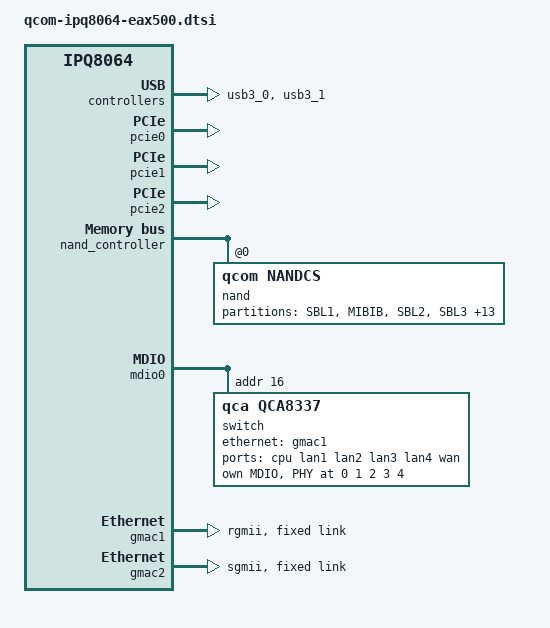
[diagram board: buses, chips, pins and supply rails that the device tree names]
// SPDX-License-Identifier: GPL-2.0-or-later OR MIT

#include "qcom-ipq8064-v2.0.dtsi"

#include <dt-bindings/input/input.h>

/ {
	chosen {
		bootargs = "console=ttyMSM0,115200n8";
		/* append to bootargs adding the root deviceblock nbr from bootloader */
		append-rootblock = "ubi.mtd=";
	};
};

&usb3_0 {
	status = "okay";
};

&usb3_1 {
	status = "okay";
};

&pcie0 {
	status = "okay";

	max-link-speed = <1>;
};

&pcie1 {
	status = "okay";
};

&pcie2 {
	status = "okay";
};

&nand_controller {
	status = "okay";

	pinctrl-0 = <&nand_pins>;
	pinctrl-names = "default";

	nand@0 {
		reg = <0>;
		compatible = "qcom,nandcs";

		nand-ecc-strength = <4>;
		nand-bus-width = <8>;
		nand-ecc-step-size = <512>;

		nand-is-boot-medium;
		qcom,boot_pages_size = <0x0c80000>;

		partitions: partitions {
			compatible = "fixed-partitions";
			#address-cells = <1>;
			#size-cells = <1>;

			partition@0 {
				label = "SBL1";
				reg = <0x0000000 0x0040000>;
				read-only;
			};

			partition@40000 {
				label = "MIBIB";
				reg = <0x0040000 0x0140000>;
				read-only;
			};

			partition@180000 {
				label = "SBL2";
				reg = <0x0180000 0x0140000>;
				read-only;
			};

			partition@2c0000 {
				label = "SBL3";
				reg = <0x02c0000 0x0280000>;
				read-only;
			};

			partition@540000 {
				label = "DDRCONFIG";
				reg = <0x0540000 0x0120000>;
				read-only;
			};

			partition@660000 {
				label = "SSD";
				reg = <0x0660000 0x0120000>;
				read-only;
			};

			partition@780000 {
				label = "TZ";
				reg = <0x0780000 0x0280000>;
				read-only;
			};

			partition@a00000 {
				label = "RPM";
				reg = <0x0a00000 0x0280000>;
				read-only;
			};

			art: partition@c80000 {
				label = "art";
				reg = <0x0c80000 0x0140000>;
				read-only;
			};

			partition@dc0000 {
				label = "APPSBL";
				reg = <0x0dc0000 0x0100000>;
				read-only;
			};

			partition@ec0000 {
				label = "u_env";
				reg = <0x0ec0000 0x0040000>;
			};

			partition@f00000 {
				label = "s_env";
				reg = <0x0f00000 0x0040000>;
			};

			partition@f40000 {
				label = "devinfo";
				reg = <0x0f40000 0x0040000>;
			};

			partition@f80000 {
				label = "kernel1";
				reg = <0x0f80000 0x2800000>;  /* 3 MB spill to rootfs */
			};

			partition@1280000 {
				label = "rootfs1";
				reg = <0x1280000 0x2500000>;
			};

			partition@3780000 {
				label = "kernel2";
				reg = <0x3780000 0x2800000>;
			};

			partition@3a80000 {
				label = "rootfs2";
				reg = <0x3a80000 0x2500000>;
			};
		};
	};
};

&mdio0 {
	status = "okay";

	pinctrl-0 = <&mdio0_pins>;
	pinctrl-names = "default";

	switch@10 {
		compatible = "qca,qca8337";
		#address-cells = <1>;
		#size-cells = <0>;
		reg = <0x10>;

		ports {
			#address-cells = <1>;
			#size-cells = <0>;

			port@0 {
				reg = <0>;
				label = "cpu";
				ethernet = <&gmac1>;
				phy-mode = "rgmii-id";

				fixed-link {
					speed = <1000>;
					full-duplex;
				};
			};

			port@1 {
				reg = <1>;
				label = "lan1";
				phy-mode = "internal";
				phy-handle = <&phy_port1>;
			};

			port@2 {
				reg = <2>;
				label = "lan2";
				phy-mode = "internal";
				phy-handle = <&phy_port2>;
			};

			port@3 {
				reg = <3>;
				label = "lan3";
				phy-mode = "internal";
				phy-handle = <&phy_port3>;
			};

			port@4 {
				reg = <4>;
				label = "lan4";
				phy-mode = "internal";
				phy-handle = <&phy_port4>;
			};

			port@5 {
				reg = <5>;
				label = "wan";
				phy-mode = "internal";
				phy-handle = <&phy_port5>;
			};

			/*
			port@6 {
					reg = <0>;
					label = "cpu";
					ethernet = <&gmac2>;
					phy-mode = "rgmii";

					fixed-link {
							speed = <1000>;
							full-duplex;
							pause;
							asym-pause;
					};
			};
			*/
		};

		mdio {
			#address-cells = <1>;
			#size-cells = <0>;

			phy_port1: phy@0 {
				reg = <0>;
			};

			phy_port2: phy@1 {
				reg = <1>;
			};

			phy_port3: phy@2 {
				reg = <2>;
			};

			phy_port4: phy@3 {
				reg = <3>;
			};

			phy_port5: phy@4 {
				reg = <4>;
			};
		};
	};
};

&gmac1 {
	status = "okay";

	phy-mode = "rgmii";
	qcom,id = <1>;

	pinctrl-0 = <&rgmii2_pins>;
	pinctrl-names = "default";

	fixed-link {
		speed = <1000>;
		full-duplex;
	};
};

&gmac2 {
	status = "okay";

	phy-mode = "sgmii";
	qcom,id = <2>;

	fixed-link {
		speed = <1000>;
		full-duplex;
	};
};

&adm_dma {
	status = "okay";
};
